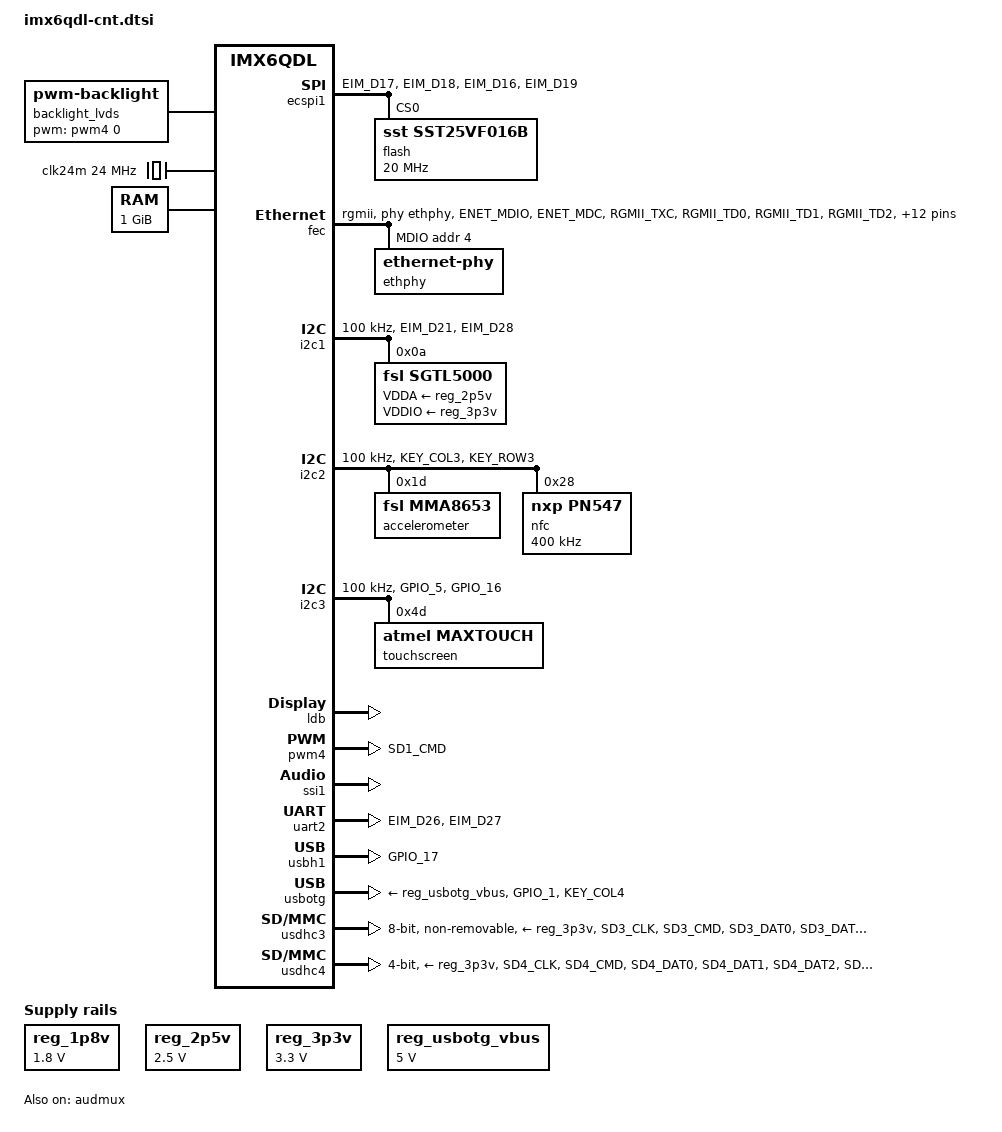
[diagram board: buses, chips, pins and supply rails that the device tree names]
/*
 * Copyright 2015 Boundary Devices
 *
 * The code contained herein is licensed under the GNU General Public
 * License. You may obtain a copy of the GNU General Public License
 * Version 2 or later at the following locations:
 *
 * http://www.opensource.org/licenses/gpl-license.html
 * http://www.gnu.org/copyleft/gpl.html
 */
#include <dt-bindings/gpio/gpio.h>
#include <dt-bindings/input/input.h>

&iomuxc {
	pinctrl-names = "default";
	pinctrl-0 = <&pinctrl_hog>;

	iomuxc_imx6q_cnt: iomuxc-imx6q-cntgrp {
		status = "okay";
	};
};

&iomuxc_imx6q_cnt {
	pinctrl_audmux: audmuxgrp {
		fsl,pins = <
			MX6QDL_PAD_CSI0_DAT7__AUD3_RXD		0x130b0
			MX6QDL_PAD_CSI0_DAT4__AUD3_TXC		0x130b0
			MX6QDL_PAD_CSI0_DAT5__AUD3_TXD		0x110b0
			MX6QDL_PAD_CSI0_DAT6__AUD3_TXFS		0x130b0
		>;
	};

	pinctrl_ecspi1: ecspi1grp {
		fsl,pins = <
			MX6QDL_PAD_EIM_D17__ECSPI1_MISO		0x100b1
			MX6QDL_PAD_EIM_D18__ECSPI1_MOSI		0x100b1
			MX6QDL_PAD_EIM_D16__ECSPI1_SCLK		0x000b1
#define GP_ECSPI1_NOR_CS	<&gpio3 19 GPIO_ACTIVE_LOW>
			MX6QDL_PAD_EIM_D19__GPIO3_IO19		0x0b0b1
		>;
	};

	pinctrl_enet: enetgrp {
		fsl,pins = <
			MX6QDL_PAD_ENET_MDIO__ENET_MDIO		0x1b0b0
			MX6QDL_PAD_ENET_MDC__ENET_MDC		0x1b0b0
			MX6QDL_PAD_RGMII_TXC__RGMII_TXC		0x100b0
			MX6QDL_PAD_RGMII_TD0__RGMII_TD0		0x100b0
			MX6QDL_PAD_RGMII_TD1__RGMII_TD1		0x100b0
			MX6QDL_PAD_RGMII_TD2__RGMII_TD2		0x100b0
			MX6QDL_PAD_RGMII_TD3__RGMII_TD3		0x100b0
			MX6QDL_PAD_RGMII_TX_CTL__RGMII_TX_CTL	0x100b0
			MX6QDL_PAD_ENET_REF_CLK__ENET_TX_CLK	0x100b0
			MX6QDL_PAD_RGMII_RXC__RGMII_RXC		0x1b0b0
			MX6QDL_PAD_RGMII_RD0__RGMII_RD0		0x130b0
			MX6QDL_PAD_RGMII_RD1__RGMII_RD1		0x130b0
			MX6QDL_PAD_RGMII_RD2__RGMII_RD2		0x130b0
			MX6QDL_PAD_RGMII_RD3__RGMII_RD3		0x1b0b0
			MX6QDL_PAD_RGMII_RX_CTL__RGMII_RX_CTL	0x130b0
#define GP_ENET_PHY_RESET	<&gpio1 27 GPIO_ACTIVE_LOW>
			MX6QDL_PAD_ENET_RXD0__GPIO1_IO27	0x030b0
#define GPIRQ_ENET_PHY		<&gpio1 28 IRQ_TYPE_LEVEL_LOW>
			MX6QDL_PAD_ENET_TX_EN__GPIO1_IO28	0x1b0b0
#define GPIRQ_ENET		<&gpio1 6 IRQ_TYPE_LEVEL_HIGH>
			MX6QDL_PAD_GPIO_6__ENET_IRQ		0x000b1
		>;
	};

	pinctrl_hog: hoggrp {
		fsl,pins = <
			MX6QDL_PAD_NANDF_D7__GPIO2_IO07		0x1b0b0		/* Spare */
#define GP_FAKE_POWEROFF	<&gpio2 4 GPIO_ACTIVE_LOW>
			MX6QDL_PAD_NANDF_D4__GPIO2_IO04		0x1b0b0
		>;
	};

	pinctrl_i2c1: i2c1grp {
		fsl,pins = <
			MX6QDL_PAD_EIM_D21__I2C1_SCL		0x4001b8b1
			MX6QDL_PAD_EIM_D28__I2C1_SDA		0x4001b8b1
		>;
	};

	pinctrl_i2c1_sgtl5000: i2c1-sgtl5000grp {
		fsl,pins = <
			MX6QDL_PAD_GPIO_0__CCM_CLKO1		0x000b0		/* sys_mclk */
		>;
	};

	pinctrl_i2c2: i2c2grp {
		fsl,pins = <
			MX6QDL_PAD_KEY_COL3__I2C2_SCL		0x4001b8b1
			MX6QDL_PAD_KEY_ROW3__I2C2_SDA		0x4001b8b1
		>;
	};

	pinctrl_i2c2_mma8653: i2c2_mma8653grp {
		fsl,pins = <
#define GPIRQ_MMA8653	<&gpio2 3 IRQ_TYPE_LEVEL_LOW>
			MX6QDL_PAD_NANDF_D3__GPIO2_IO03		0x1b0b0
		>;
	};

	pinctrl_i2c2_nfc: i2c2_nfcgrp {
		fsl,pins = <
#define GP_NFC_ENABLE	<&gpio2 1 GPIO_ACTIVE_HIGH>
			MX6QDL_PAD_NANDF_D1__GPIO2_IO01		0x1b0b0
#define GPIRQ_NFC	<&gpio2 2 IRQ_TYPE_NONE>
			MX6QDL_PAD_NANDF_D2__GPIO2_IO02		0x1b0b0
		>;
	};

	pinctrl_i2c3: i2c3grp {
		fsl,pins = <
			MX6QDL_PAD_GPIO_5__I2C3_SCL		0x4001b8b1
			MX6QDL_PAD_GPIO_16__I2C3_SDA		0x4001b8b1
		>;
	};

	pinctrl_i2c3_maxtouch: i2c3_maxtouchgrp {
		fsl,pins = <
#define GPIRQ_MAXTOUCH	<&gpio1 9 IRQ_TYPE_EDGE_FALLING>
#define GP_MAXTOUCH	<&gpio1 9 GPIO_ACTIVE_LOW>
			MX6QDL_PAD_GPIO_9__GPIO1_IO09		0x1b0b0		/* I2C3 J7 interrupt */
#define GP_MAXTOUCH_RESET	<&gpio4 5 GPIO_ACTIVE_LOW>
			MX6QDL_PAD_GPIO_19__GPIO4_IO05		0x1b0b0
		>;
	};

	pinctrl_pwm4: pwm4grp {
		fsl,pins = <
			MX6QDL_PAD_SD1_CMD__PWM4_OUT		0x030b0
		>;
	};

	pinctrl_reg_usbotg_vbus: reg-usbotg-vbusgrp {
		fsl,pins = <
#define GP_REG_USBOTG	<&gpio3 22 GPIO_ACTIVE_HIGH>
			MX6QDL_PAD_EIM_D22__GPIO3_IO22		0x030b0
		>;
	};

	pinctrl_uart2: uart2grp {
		fsl,pins = <
			MX6QDL_PAD_EIM_D26__UART2_TX_DATA	0x1b0b1
			MX6QDL_PAD_EIM_D27__UART2_RX_DATA	0x1b0b1
		>;
	};

	pinctrl_usbh1: usbh1grp {
		fsl,pins = <
#define GP_USBH1_HUB_RESET	<&gpio7 12 GPIO_ACTIVE_LOW>
			MX6QDL_PAD_GPIO_17__GPIO7_IO12		0x030b0
		>;
	};

	pinctrl_usbotg: usbotggrp {
		fsl,pins = <
			MX6QDL_PAD_GPIO_1__USB_OTG_ID		0x17059
			MX6QDL_PAD_KEY_COL4__USB_OTG_OC		0x1b0b0
		>;
	};

	pinctrl_usdhc3: usdhc3grp {
		fsl,pins = <
			MX6QDL_PAD_SD3_CLK__SD3_CLK		0x10059
			MX6QDL_PAD_SD3_CMD__SD3_CMD		0x17059
			MX6QDL_PAD_SD3_DAT0__SD3_DATA0		0x17059
			MX6QDL_PAD_SD3_DAT1__SD3_DATA1		0x17059
			MX6QDL_PAD_SD3_DAT2__SD3_DATA2		0x17059
			MX6QDL_PAD_SD3_DAT3__SD3_DATA3		0x17059
			MX6QDL_PAD_SD3_DAT4__SD3_DATA4		0x17059
			MX6QDL_PAD_SD3_DAT5__SD3_DATA5		0x17059
			MX6QDL_PAD_SD3_DAT6__SD3_DATA6		0x17059
			MX6QDL_PAD_SD3_DAT7__SD3_DATA7		0x17059
		>;
	};

	pinctrl_usdhc4: usdhc4grp {
		fsl,pins = <
			MX6QDL_PAD_SD4_CLK__SD4_CLK		0x10059
			MX6QDL_PAD_SD4_CMD__SD4_CMD		0x17059
			MX6QDL_PAD_SD4_DAT0__SD4_DATA0		0x17059
			MX6QDL_PAD_SD4_DAT1__SD4_DATA1		0x17059
			MX6QDL_PAD_SD4_DAT2__SD4_DATA2		0x17059
			MX6QDL_PAD_SD4_DAT3__SD4_DATA3		0x17059
#define GP_USDHC4_CD	<&gpio2 6 GPIO_ACTIVE_LOW>
			MX6QDL_PAD_NANDF_D6__GPIO2_IO06		0x1b0b0
		>;
	};

};

/ {
	aliases {
		backlight_lvds = &backlight_lvds;
		fb_lvds = &fb_lvds;
		mmc0 = &usdhc3;
		mmc1 = &usdhc4;
		mxcfb0 = &fb_lvds;
		pwm_lvds = &pwm4;
		t_lvds = &t_lvds;
	};

	backlight_lvds: backlight_lvds {
		brightness-levels = <0 1 2 3 4 5 6 7 8 9 10>;
		compatible = "pwm-backlight";
		default-brightness-level = <8>;
		display = <&fb_lvds>;
		pwms = <&pwm4 0 50000>;
	};

	clocks {
		clk24m: clk24m {
			compatible = "fixed-clock";
			#clock-cells = <0>;
			clock-frequency = <24000000>;
		};
	};

	fake_poweroff {
		compatible = "fake-poweroff";
		gpios = GP_FAKE_POWEROFF;
	};

	fb_lvds: fb@0 {
		compatible = "fsl,mxc_sdc_fb";
		disp_dev = "ldb";
		interface_pix_fmt = "RGB666";
		default_bpp = <16>;
		int_clk = <0>;
		late_init = <0>;
		status = "okay";
	};

	memory {
		reg = <0x10000000 0x40000000>;
	};

	regulators {
		compatible = "simple-bus";
		#address-cells = <1>;
		#size-cells = <0>;

		reg_1p8v: regulator@0 {
			compatible = "regulator-fixed";
			reg = <0>;
			regulator-name = "1P8V";
			regulator-min-microvolt = <1800000>;
			regulator-max-microvolt = <1800000>;
			regulator-always-on;
		};

		reg_2p5v: regulator@1 {
			compatible = "regulator-fixed";
			reg = <1>;
			regulator-name = "2P5V";
			regulator-min-microvolt = <2500000>;
			regulator-max-microvolt = <2500000>;
			regulator-always-on;
		};

		reg_3p3v: regulator@2 {
			compatible = "regulator-fixed";
			reg = <2>;
			regulator-name = "3P3V";
			regulator-min-microvolt = <3300000>;
			regulator-max-microvolt = <3300000>;
			regulator-always-on;
		};

		reg_usbotg_vbus: regulator@3 {
			compatible = "regulator-fixed";
			reg = <3>;
			pinctrl-names = "default";
			pinctrl-0 = <&pinctrl_reg_usbotg_vbus>;
			regulator-name = "usb_otg_vbus";
			regulator-min-microvolt = <5000000>;
			regulator-max-microvolt = <5000000>;
			gpio = GP_REG_USBOTG;
			enable-active-high;
		};
	};

	sound {
		compatible = "fsl,imx6q-cnt-sgtl5000",
			     "fsl,imx-audio-sgtl5000";
		model = "sgtl5000-audio";
		ssi-controller = <&ssi1>;
		audio-codec = <&sgtl5000>;
		audio-routing =
			"MIC_IN", "Mic Jack",
			"Mic Jack", "Mic Bias",
			"Headphone Jack", "HP_OUT";
		mux-int-port = <1>;
		mux-ext-port = <3>;
	};

	v4l2_out {
		compatible = "fsl,mxc_v4l2_output";
		status = "okay";
	};
};

&audmux {
	pinctrl-names = "default";
	pinctrl-0 = <&pinctrl_audmux>;
	status = "okay";
};

&ecspi1 {
	pinctrl-names = "default";
	pinctrl-0 = <&pinctrl_ecspi1>;
	fsl,spi-num-chipselects = <1>;
	cs-gpios = GP_ECSPI1_NOR_CS;
	status = "okay";

	flash: m25p80@0 {
		compatible = "sst,sst25vf016b";
		spi-max-frequency = <20000000>;
		reg = <0>;
		#address-cells = <1>;
		#size-cells = <1>;
		mtd@00000000 {
			label = "U-Boot";
			reg = <0x0 0xC0000>;
		};

		mtd@000C0000 {
			label = "env";
			reg = <0xC0000 0x2000>;
		};
		mtd@000C2000 {
			label = "splash";
			reg = <0xC2000 0x13e000>;
		};
	};
};

&fec {
	interrupts-extended = GPIRQ_ENET,
			      <&intc 0 119 IRQ_TYPE_LEVEL_HIGH>;
	phy-handle = <&ethphy>;
	phy-mode = "rgmii";
#if 0
	phy-reset-gpios = GP_ENET_PHY_RESET;
#endif
	pinctrl-names = "default";
	pinctrl-0 = <&pinctrl_enet>;
	status = "okay";

	mdio {
		#address-cells = <0>;
		#size-cells = <1>;

		ethphy: ethernet-phy@4 {
			reg = <4>;
			interrupts-extended = GPIRQ_ENET_PHY;
		};
	};
};

&i2c1 {
	clock-frequency = <100000>;
	pinctrl-names = "default";
	pinctrl-0 = <&pinctrl_i2c1>;
	status = "okay";

	sgtl5000: sgtl5000@0a {
		compatible = "fsl,sgtl5000";
		pinctrl-names = "default";
		pinctrl-0 = <&pinctrl_i2c1_sgtl5000>;
		reg = <0x0a>;
		clocks = <&clks IMX6QDL_CLK_CKO>;
		VDDA-supply = <&reg_2p5v>;
		VDDIO-supply = <&reg_3p3v>;
	};
};

&i2c2 {
	clock-frequency = <100000>;
	pinctrl-names = "default";
	pinctrl-0 = <&pinctrl_i2c2>;
	status = "okay";

	accelerometer@1d {
		compatible = "fsl,mma8653";
		reg = <0x1d>;
		pinctrl-names = "default";
		pinctrl-0 = <&pinctrl_i2c2_mma8653>;
		position = <0>;
		interrupts-extended = GPIRQ_MMA8653;
		interrupt-route = <1>;
	};

	nfc@28 {
		compatible = "nxp,pn547";
		reg = <0x28>;
		pinctrl-names = "default";
		pinctrl-0 = <&pinctrl_i2c2_nfc>;
		clock-frequency = <400000>;
		interrupt-gpios = GPIRQ_NFC;
		enable-gpios = GP_NFC_ENABLE;
	};
};

&i2c3 {
	clock-frequency = <100000>;
	pinctrl-names = "default";
	pinctrl-0 = <&pinctrl_i2c3>;
	status = "okay";

	touchscreen@4d {
		compatible = "atmel,maxtouch";
		reg = <0x4d>;
		pinctrl-names = "default";
		pinctrl-0 = <&pinctrl_i2c3_maxtouch>;
		interrupts-extended = GPIRQ_MAXTOUCH;
		atmel,reset-gpio = GP_MAXTOUCH_RESET;
	};
};

&ldb {
	status = "okay";

	lvds-channel@0 {
		crtc = "ipu1-di1";
		fsl,data-mapping = "spwg";
		fsl,data-width = <18>;
		status = "okay";
		primary;

		display-timings {
			t_lvds: t_lvds_default {
				/* lg1280x800 values may be changed in bootscript */
				clock-frequency = <72000000>;
				hactive = <1280>;
				vactive = <800>;
				hback-porch = <48>;
				hfront-porch = <80>;
				vback-porch = <15>;
				vfront-porch = <2>;
				hsync-len = <32>;
				vsync-len = <6>;
			};
		};
	};
};

&pwm4 {
	pinctrl-names = "default";
	pinctrl-0 = <&pinctrl_pwm4>;
	status = "okay";
};

&ssi1 {
	fsl,mode = "i2s-slave";
	status = "okay";
};

&uart2 {
	pinctrl-names = "default";
	pinctrl-0 = <&pinctrl_uart2>;
	status = "okay";
};

&usbh1 {
	pinctrl-names = "default";
	pinctrl-0 = <&pinctrl_usbh1>;
	disable-over-current;
	reset-gpios = GP_USBH1_HUB_RESET;
	status = "okay";
};

&usbotg {
	vbus-supply = <&reg_usbotg_vbus>;
	pinctrl-names = "default";
	pinctrl-0 = <&pinctrl_usbotg>;
	disable-over-current;
	status = "okay";
};

&usdhc3 {
	pinctrl-names = "default";
	pinctrl-0 = <&pinctrl_usdhc3>;
	vmmc-supply = <&reg_3p3v>;
	bus-width = <8>;
	non-removable;
	keep-power-in-suspend;
	status = "okay";
};

&usdhc4 {
	pinctrl-names = "default";
	pinctrl-0 = <&pinctrl_usdhc4>;
	bus-width = <4>;
	cd-gpios = GP_USDHC4_CD;
	vmmc-supply = <&reg_3p3v>;
	status = "okay";
};
